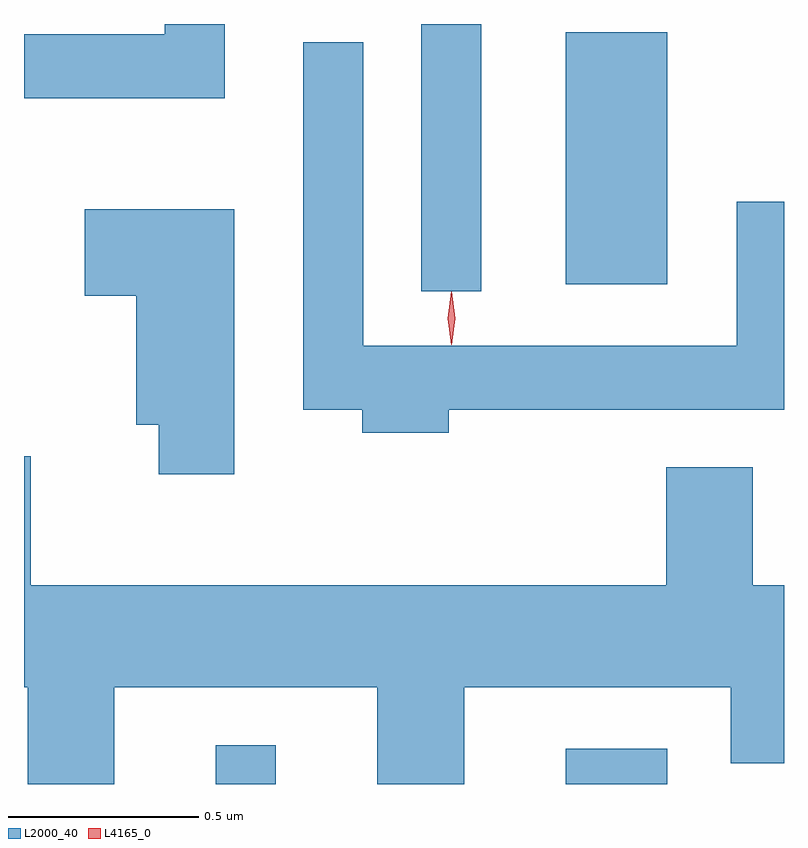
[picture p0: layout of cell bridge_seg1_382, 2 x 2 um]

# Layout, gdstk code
import gdstk
lib = gdstk.Library(unit=1e-6, precision=1e-09)
def R(c, l, rs):  # rectangles x0, y0, x1, y1
    for r in rs: c.add(gdstk.rectangle(r[:2], r[2:], *l))
def P(c, l, *ps):  # polygons
    for p in ps: c.add(gdstk.Polygon(p, *l))
L2000_40 = (2000, 40)
L4165_0 = (4165, 0)

bridge_seg1_382 = lib.new_cell('bridge_seg1_382')
R(bridge_seg1_382, L2000_40, [(888.106,868.241,888.264,868.343), (889.026,868.241,889.294,868.334), (888.646,869.538,888.804,870.241), (889.026,869.556,889.294,870.219)])
P(bridge_seg1_382, L2000_40, [(888.129,870.241),(887.971,870.241),(887.971,870.214),(887.601,870.214),(887.601,870.046),(888.129,870.046)],
  [(888.719,869.226),(889.601,869.226),(889.601,869.773),(889.476,869.773),(889.476,869.394),(888.494,869.394),(888.494,870.193),(888.336,870.193),(888.336,869.226),(888.491,869.226),(888.491,869.166),(888.719,869.166)],
  [(888.154,869.754),(887.761,869.754),(887.761,869.526),(887.896,869.526),(887.896,869.186),(887.956,869.186),(887.956,869.056),(888.154,869.056)],
  [(887.839,868.496),(888.531,868.496),(888.531,868.241),(888.759,868.241),(888.759,868.496),(889.461,868.496),(889.461,868.296),(889.601,868.296),(889.601,868.764),(889.519,868.764),(889.519,869.074),(889.291,869.074),(889.291,868.764),(887.619,868.764),(887.619,869.104),(887.601,869.104),(887.601,868.496),(887.611,868.496),(887.611,868.241),(887.839,868.241)])
P(bridge_seg1_382, L4165_0, [(888.726,869.399),(888.725,869.4),(888.716,869.466),(888.725,869.532),(888.726,869.533),(888.726,869.532),(888.736,869.466),(888.726,869.4)],
  [(888.725,869.397),(888.716,869.467),(888.725,869.536),(888.726,869.536),(888.726,869.536),(888.736,869.467),(888.726,869.397),(888.726,869.397)])

lib.write_gds('bridge_seg1_382.gds')
